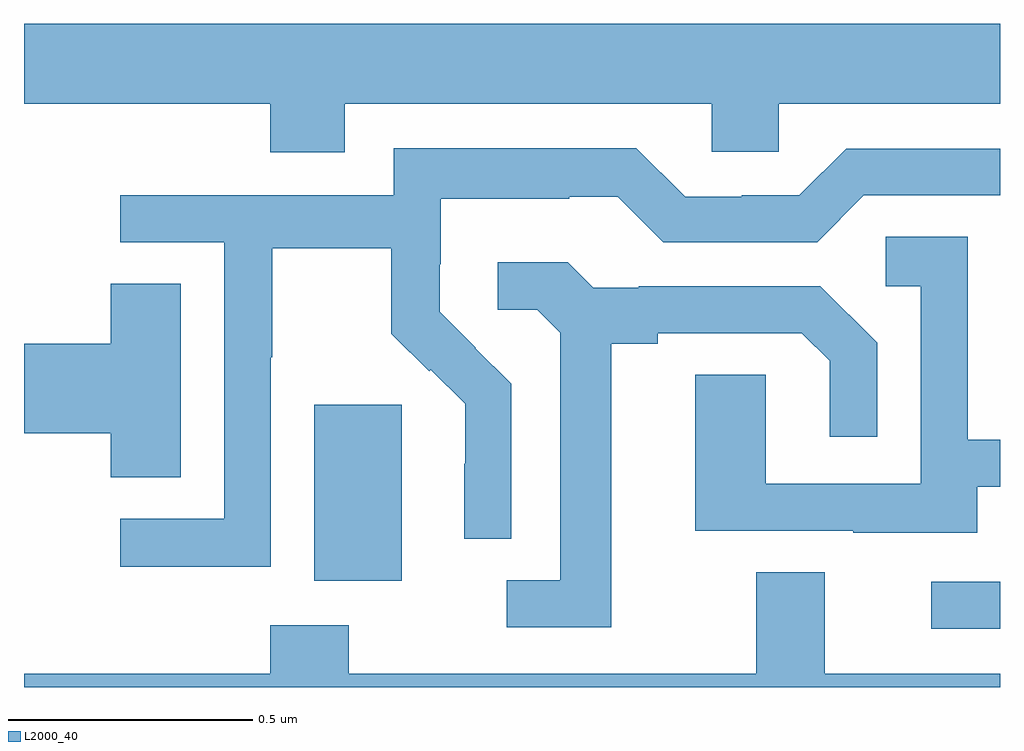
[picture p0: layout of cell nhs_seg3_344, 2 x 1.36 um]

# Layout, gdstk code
import gdstk
lib = gdstk.Library(unit=1e-6, precision=1e-09)
def R(c, l, rs):  # rectangles x0, y0, x1, y1
    for r in rs: c.add(gdstk.rectangle(r[:2], r[2:], *l))
def P(c, l, *ps):  # polygons
    for p in ps: c.add(gdstk.Polygon(p, *l))
L2000_40 = (2000, 40)

nhs_seg3_344 = lib.new_cell('nhs_seg3_344')
R(nhs_seg3_344, L2000_40, [(116.859,686.52,117,686.616), (115.595,686.618,115.774,686.979)])
P(nhs_seg3_344, L2000_40, [(115.657,687.596),(116.409,687.596),(116.409,687.498),(116.547,687.498),(116.547,687.596),(117,687.596),(117,687.76),(115,687.76),(115,687.596),(115.505,687.596),(115.505,687.497),(115.657,687.497)],
  [(115.506,687.076),(115.509,687.076),(115.509,687.3),(115.753,687.3),(115.753,687.125),(115.83,687.048),(115.833,687.051),(115.904,686.981),(115.904,686.858),(115.902,686.858),(115.902,686.704),(115.998,686.704),(115.998,687.022),(115.925,687.095),(115.926,687.096),(115.852,687.17),(115.852,687.267),(115.854,687.267),(115.854,687.401),(116.117,687.401),(116.117,687.405),(116.217,687.405),(116.31,687.312),(116.625,687.312),(116.721,687.408),(117,687.408),(117,687.504),(116.685,687.504),(116.589,687.408),(116.471,687.408),(116.471,687.405),(116.355,687.405),(116.255,687.505),(115.758,687.505),(115.758,687.408),(115.197,687.408),(115.197,687.312),(115.41,687.312),(115.41,686.745),(115.197,686.745),(115.197,686.647),(115.506,686.647)],
  [(116.953,686.811),(117,686.811),(117,686.907),(116.934,686.907),(116.934,687.323),(116.766,687.323),(116.766,687.222),(116.838,687.222),(116.838,686.817),(116.52,686.817),(116.52,687.041),(116.375,687.041),(116.375,686.721),(116.699,686.721),(116.699,686.717),(116.953,686.717)],
  [(116.203,687.104),(116.299,687.104),(116.299,687.126),(116.594,687.126),(116.651,687.069),(116.651,686.913),(116.748,686.913),(116.748,687.106),(116.632,687.222),(116.26,687.222),(116.26,687.219),(116.166,687.219),(116.114,687.271),(115.971,687.271),(115.971,687.174),(116.052,687.174),(116.099,687.127),(116.099,686.619),(115.989,686.619),(115.989,686.523),(116.203,686.523)],
  [(115.321,687.227),(115.178,687.227),(115.178,687.104),(115,687.104),(115,686.921),(115.178,686.921),(115.178,686.83),(115.321,686.83)],
  [(117,686.428),(116.641,686.428),(116.641,686.636),(116.501,686.636),(116.501,686.428),(115.665,686.428),(115.665,686.527),(115.505,686.527),(115.505,686.428),(115,686.428),(115,686.4),(117,686.4)])

lib.write_gds('nhs_seg3_344.gds')
